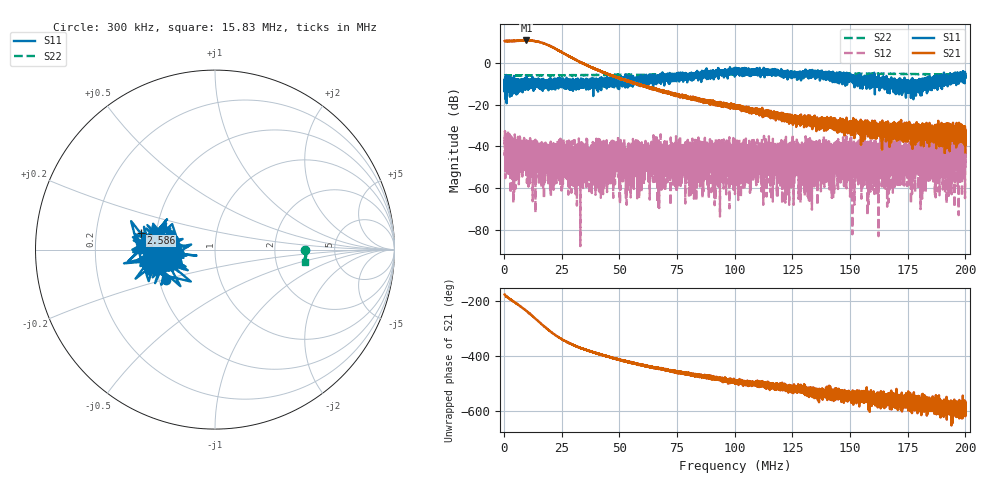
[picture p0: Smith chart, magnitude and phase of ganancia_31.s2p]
# Hz S DB R 50
! CMT, M5065, 19127446, 24.2.4/2
! Date: 10/29/2024 12:31:59 PM
! Data: Format (Calibration Info)
! Freq	S11:dB/Ang(F2)	S21:dB/Ang(F2)	S12:dB/Ang(F2)	S22:dB/Ang(F2)
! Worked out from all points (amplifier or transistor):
!   9000 points, 300 kHz to 200 MHz, reference 50 ohm
!   highest |S21| = 10.7 dB at 9.754 MHz (marker M1)
!   |S21| within 3 dB of that: start of sweep to 20.6 MHz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
!   unconditionally stable (mu >= 1): start of sweep to end of sweep
!   at 33.59 MHz: K = 61.19, MAG = 1.7 dB, |S12| = -45.1 dB
!   at 100.2 MHz: K = 569.46, MAG = -18.9 dB, |S12| = -44.8 dB
!   at 200 MHz: K = 11368.64, MAG = -39.9 dB, |S12| = -50.2 dB
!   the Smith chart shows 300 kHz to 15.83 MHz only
!   S11 on the Smith chart (normalised r, x): 300 kHz: 0.54, -0.20; 2.586 MHz: 0.41, +0.09; 15.83 MHz: 0.50, -0.07
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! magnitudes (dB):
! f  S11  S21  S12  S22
! 300 kHz  -9.9  10.4  -41.7  -6.0
! 2.586 MHz  -7.5  10.5  -46.1  -6.0
! 9.754 MHz  -10.0  10.7  -43.8  -5.9
! 15.83 MHz  -9.6  9.8  -48.1  -5.9
! 33.59 MHz  -11.8  0.1  -45.1  -5.9
! 64.48 MHz  -6.0  -12.2  -42.2  -5.7
! 66.87 MHz  -7.3  -13.1  -51.3  -5.6
! 81.65 MHz  -6.2  -17.2  -53.8  -5.6
! 83.67 MHz  -5.5  -17.7  -42.6  -5.7
! 90.73 MHz  -5.1  -19.6  -60.0  -5.6
! 100.2 MHz  -6.1  -21.5  -44.8  -5.6
! 102.7 MHz  -4.6  -22.5  -53.2  -5.6
! 104.7 MHz  -4.3  -21.3  -49.2  -5.7
! 117.6 MHz  -4.7  -24.2  -53.7  -5.5
! 122.9 MHz  -4.9  -25.8  -44.3  -5.4
! 133.4 MHz  -4.9  -28.5  -48.9  -5.4
! 137.5 MHz  -4.9  -28.1  -43.0  -5.3
! 166.7 MHz  -9.2  -32.1  -43.5  -5.3
! 178.3 MHz  -11.5  -39.2  -46.6  -5.4
! 197.7 MHz  -5.4  -29.7  -39.9  -5.5
! 199 MHz  -6.3  -34.8  -41.2  -5.5
! 200 MHz  -5.4  -42.8  -50.2  -5.5
